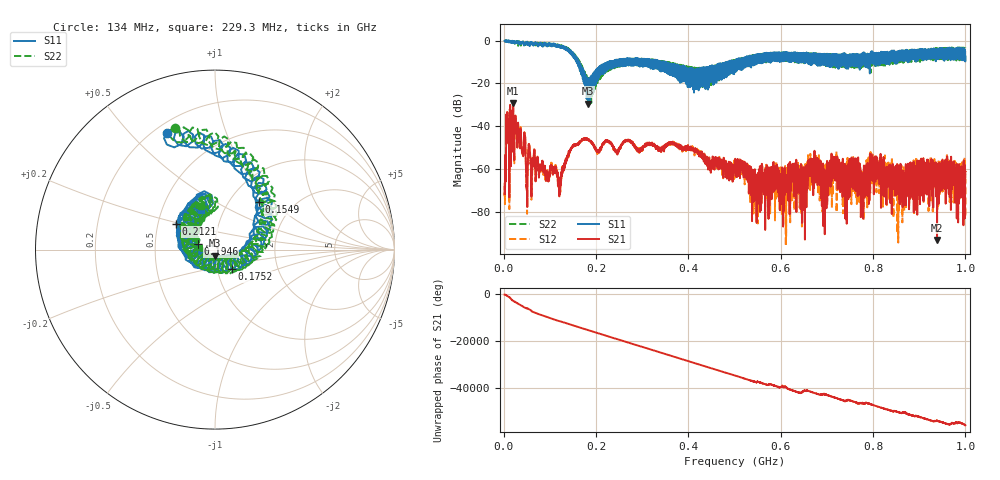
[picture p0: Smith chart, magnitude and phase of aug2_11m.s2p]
!Keysight Technologies N9923A: A.12.45
!Date: Saturday, 02 August 2025 18:57:15
!Timezone: (UTC+08:00) Kuala Lumpur, Singapore
!Model: N9923A
!Serial: MY61181427
!GPS Latitude:
!GPS Longitude:
!GPS TimeStamp: 0001-01-01 00:00:00Z
!GPS Seconds Since Last Read: 0
!CHECKSUM:0379654130
!Correction: S11(ON U)S21(ON U)S12(ON U)S22(ON U)
!S2P File: Measurements:S11,S21,S12,S22:
# Hz S DB R 50
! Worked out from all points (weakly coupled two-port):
!   4001 points, 2 MHz to 1 GHz, reference 50 ohm
!   highest |S21| = -29.30 dB at 20.46 MHz (marker M1); lowest = -93.1 dB at 938.6 MHz (marker M2)
!   lowest |S11| = -29.4 dB at 182.9 MHz (marker M3), VSWR 1.07, Z = 49.6 - j3.37 ohm
!   |S11| at or under -10 dB: 162.6 MHz to 226.8 MHz (64.28 MHz wide, 33 % of centre); 347.9 MHz to 351 MHz (3.167 MHz wide, 0.906 % of centre); 351.1 MHz to 484.7 MHz (133.7 MHz wide, 32 % of centre) (the widest 3 of 239)
!   |S22| runs from -30.1 to 0.1 dB; largest |S21 - S12| = 0.004
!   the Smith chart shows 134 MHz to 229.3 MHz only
!   S11 on the Smith chart (normalised r, x): 134 MHz: 0.25, +0.64; 154.9 MHz: 1.36, +0.83; 175.2 MHz: 1.18, -0.26; 194.6 MHz: 0.82, +0.05; 212.1 MHz: 0.62, +0.19; 229.3 MHz: 0.78, +0.37
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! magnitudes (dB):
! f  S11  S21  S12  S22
! 2 MHz  -0.1  -68.3  -66.3  -0.1
! 9.735 MHz  -0.1  -40.0  -40.1  -0.1
! 20.46 MHz  -0.8  -29.3  -29.6  -0.6
! 52.4 MHz  -1.9  -55.7  -55.3  -1.3
! 120.8 MHz  -2.2  -65.8  -66.5  -2.0
! 134 MHz  -3.1  -56.2  -56.1  -2.9
! 154.9 MHz  -8.9  -48.9  -48.5  -8.5
! 168.4 MHz  -14.5  -46.8  -46.5  -14.5
! 175.2 MHz  -16.8  -45.8  -45.6  -18.3
! 182.9 MHz  -29.4  -45.9  -46.4  -23.0
! 194.6 MHz  -20.0  -49.3  -48.9  -24.1
! 212.1 MHz  -11.7  -49.9  -49.5  -12.0
! 229.3 MHz  -12.6  -47.3  -47.5  -11.9
! 334.8 MHz  -11.7  -50.7  -51.5  -9.8
! 501 MHz  -12.3  -59.7  -57.4  -12.9
! 545.4 MHz  -7.3  -69.4  -68.2  -7.5
! 667.4 MHz  -7.0  -60.3  -60.4  -10.0
! 692.6 MHz  -7.3  -67.1  -72.0  -10.4
! 718.1 MHz  -6.6  -58.0  -57.6  -12.6
! 833.8 MHz  -7.0  -65.3  -61.6  -7.8
! 938.6 MHz  -4.4  -93.1  -65.0  -8.5
! 1 GHz  -7.4  -61.0  -64.6  -3.2
